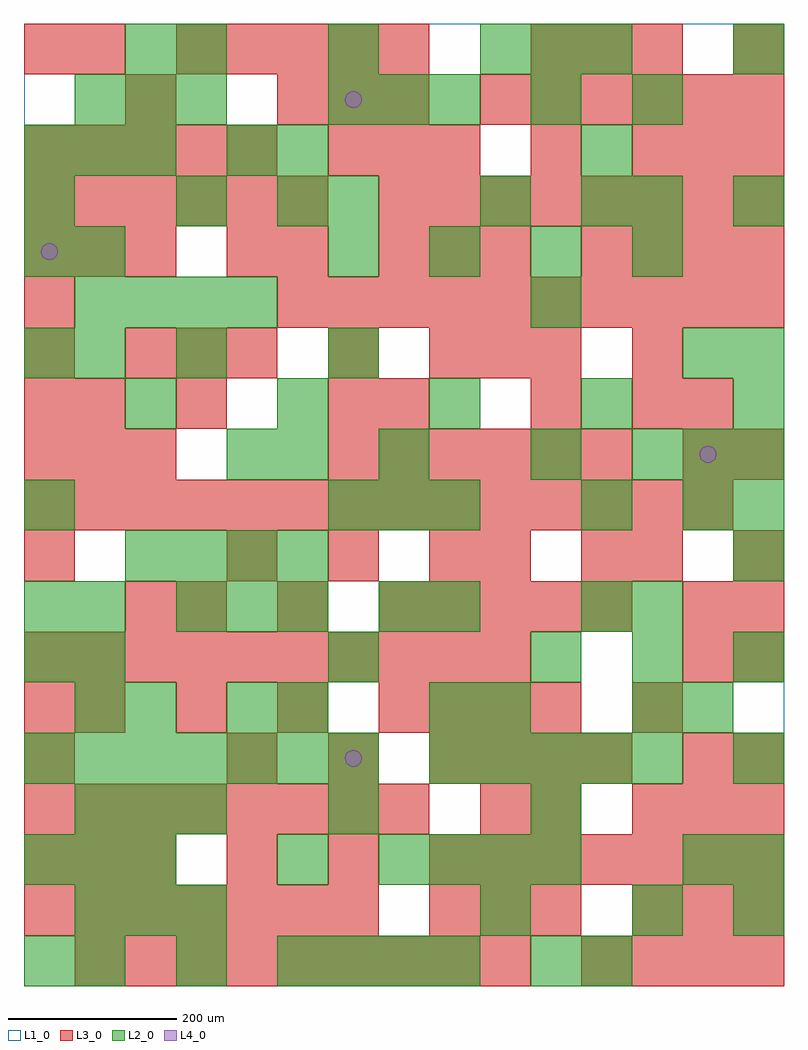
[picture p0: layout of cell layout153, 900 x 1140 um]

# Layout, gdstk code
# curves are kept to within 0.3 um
import gdstk
lib = gdstk.Library(unit=1e-6, precision=1e-09)
def R(c, l, rs):  # rectangles x0, y0, x1, y1
    for r in rs: c.add(gdstk.rectangle(r[:2], r[2:], *l))
def A(c, l, x, y, w, h, nx, ny, dx, dy):  # array of equal rectangles
    R(c, l, [(x+i*dx, y+j*dy, x+i*dx+w, y+j*dy+h) for i in range(nx) for j in range(ny)])
def P(c, l, *ps):  # polygons
    for p in ps: c.add(gdstk.Polygon(p, *l))
L1_0 = (1, 0)
L2_0 = (2, 0)
L3_0 = (3, 0)
L4_0 = (4, 0)

layout153 = lib.new_cell('layout153')
R(layout153, L1_0, [(0,0,900,1140)])
A(layout153, L2_0, 60, 0, 60, 60, 3, 1, 120, 0)
A(layout153, L2_0, 360, 0, 60, 60, 3, 2, 60, 540)
A(layout153, L2_0, 60, 60, 60, 60, 3, 2, 60, 120)
A(layout153, L2_0, 0, 120, 60, 60, 3, 2, 60, 840)
A(layout153, L2_0, 420, 120, 60, 60, 4, 1, 60, 0)
A(layout153, L2_0, 0, 240, 60, 60, 7, 1, 60, 0)
A(layout153, L2_0, 480, 240, 60, 60, 5, 1, 60, 0)
A(layout153, L2_0, 60, 300, 60, 60, 1, 3, 0, 60)
A(layout153, L2_0, 300, 300, 60, 60, 1, 3, 0, 300)
A(layout153, L2_0, 600, 360, 60, 60, 3, 1, 120, 0)
A(layout153, L2_0, 180, 420, 60, 60, 3, 1, 60, 0)
A(layout153, L2_0, 120, 480, 60, 60, 4, 1, 60, 0)
A(layout153, L2_0, 840, 540, 60, 60, 1, 4, 0, 180)
A(layout153, L2_0, 720, 600, 60, 60, 3, 1, 60, 0)
A(layout153, L2_0, 120, 660, 60, 60, 5, 1, 180, 0)
A(layout153, L2_0, 60, 780, 60, 60, 4, 1, 60, 0)
A(layout153, L2_0, 360, 840, 60, 60, 4, 1, 120, 0)
A(layout153, L2_0, 60, 1020, 60, 60, 3, 1, 60, 0)
A(layout153, L2_0, 360, 1020, 60, 60, 3, 1, 60, 0)
A(layout153, L2_0, 180, 1080, 60, 60, 3, 1, 180, 0)
R(layout153, L2_0, [(0,0,60,60), (600,0,660,60), (660,0,720,60), (540,60,600,120), (720,60,780,120), (840,60,900,120), (300,120,360,180), (780,120,840,180), (840,120,900,180), (360,180,420,240), (600,180,660,240), (840,240,900,300), (120,300,180,360), (240,300,300,360), (480,300,540,360), (540,300,600,360), (720,300,780,360), (780,300,840,360), (0,360,60,420), (360,360,420,420), (0,420,60,480), (420,420,480,480), (480,420,540,480), (660,420,720,480), (720,420,780,480), (840,480,900,540), (0,540,60,600), (660,540,720,600), (780,540,840,600), (240,600,300,660), (420,600,480,660), (600,600,660,660), (0,720,60,780), (60,720,120,780), (180,720,240,780), (360,720,420,780), (780,720,840,780), (600,780,660,840), (0,840,60,900), (60,840,120,900), (0,900,60,960), (180,900,240,960), (360,900,420,960), (540,900,600,960), (660,900,720,960), (720,900,780,960), (240,960,300,1020), (300,960,360,1020), (660,960,720,1020), (600,1020,660,1080), (720,1020,780,1080), (120,1080,180,1140), (600,1080,660,1140), (660,1080,720,1140)])
A(layout153, L3_0, 60, 0, 60, 60, 9, 1, 60, 0)
A(layout153, L3_0, 660, 0, 60, 60, 4, 2, 60, 840)
A(layout153, L3_0, 0, 60, 60, 60, 7, 1, 60, 0)
A(layout153, L3_0, 480, 60, 60, 60, 3, 2, 60, 240)
A(layout153, L3_0, 720, 60, 60, 60, 3, 2, 60, 120)
A(layout153, L3_0, 0, 120, 60, 60, 3, 2, 60, 480)
A(layout153, L3_0, 240, 120, 60, 60, 3, 2, 120, 120)
A(layout153, L3_0, 540, 120, 60, 60, 6, 2, 60, 900)
A(layout153, L3_0, 0, 180, 60, 60, 8, 1, 60, 0)
A(layout153, L3_0, 540, 240, 60, 60, 3, 1, 60, 0)
A(layout153, L3_0, 0, 300, 60, 60, 1, 3, 0, 180)
A(layout153, L3_0, 60, 300, 60, 60, 4, 1, 120, 0)
A(layout153, L3_0, 720, 300, 60, 60, 1, 3, 0, 180)
A(layout153, L3_0, 0, 360, 60, 60, 10, 1, 60, 0)
A(layout153, L3_0, 840, 360, 60, 60, 1, 3, 0, 60)
A(layout153, L3_0, 180, 420, 60, 60, 3, 1, 120, 0)
A(layout153, L3_0, 480, 420, 60, 60, 4, 1, 60, 0)
A(layout153, L3_0, 240, 480, 60, 60, 3, 1, 120, 0)
A(layout153, L3_0, 0, 540, 60, 60, 14, 1, 60, 0)
A(layout153, L3_0, 360, 600, 60, 60, 6, 1, 60, 0)
A(layout153, L3_0, 120, 720, 60, 60, 3, 1, 60, 0)
A(layout153, L3_0, 480, 720, 60, 60, 3, 1, 60, 0)
A(layout153, L3_0, 300, 780, 60, 60, 10, 1, 60, 0)
A(layout153, L3_0, 0, 840, 60, 60, 3, 1, 60, 0)
A(layout153, L3_0, 420, 840, 60, 60, 3, 1, 60, 0)
A(layout153, L3_0, 0, 900, 60, 60, 6, 1, 60, 0)
A(layout153, L3_0, 420, 900, 60, 60, 8, 1, 60, 0)
A(layout153, L3_0, 0, 960, 60, 60, 5, 1, 60, 0)
A(layout153, L3_0, 360, 960, 60, 60, 3, 1, 60, 0)
A(layout153, L3_0, 720, 960, 60, 60, 3, 1, 60, 0)
A(layout153, L3_0, 300, 1020, 60, 60, 3, 1, 60, 0)
A(layout153, L3_0, 180, 1080, 60, 60, 5, 1, 60, 0)
A(layout153, L3_0, 600, 1080, 60, 60, 3, 1, 60, 0)
R(layout153, L3_0, [(540,180,600,240), (600,180,660,240), (0,240,60,300), (780,240,840,300), (840,240,900,300), (780,360,840,420), (120,420,180,480), (780,420,840,480), (540,480,600,540), (660,480,720,540), (780,600,840,660), (840,600,900,660), (60,660,120,720), (180,660,240,720), (360,660,420,720), (420,660,480,720), (600,660,660,720), (780,660,840,720), (0,720,60,780), (360,720,420,780), (720,720,780,780), (0,780,60,840), (240,840,300,900), (300,840,360,900), (600,960,660,1020), (120,1020,180,1080), (0,1080,60,1140), (60,1080,120,1140), (840,1080,900,1140)])
P(layout153, L4_0, [(40,870),(39.239,873.827),(37.071,877.071),(33.827,879.239),(30,880),(26.173,879.239),(22.929,877.071),(20.761,873.827),(20,870),(20.761,866.173),(22.929,862.929),(26.173,860.761),(30,860),(33.827,860.761),(37.071,862.929),(39.239,866.173)],
  [(400,270),(399.239,273.827),(397.071,277.071),(393.827,279.239),(390,280),(386.173,279.239),(382.929,277.071),(380.761,273.827),(380,270),(380.761,266.173),(382.929,262.929),(386.173,260.761),(390,260),(393.827,260.761),(397.071,262.929),(399.239,266.173)],
  [(400,1050),(399.239,1053.827),(397.071,1057.071),(393.827,1059.239),(390,1060),(386.173,1059.239),(382.929,1057.071),(380.761,1053.827),(380,1050),(380.761,1046.173),(382.929,1042.929),(386.173,1040.761),(390,1040),(393.827,1040.761),(397.071,1042.929),(399.239,1046.173)],
  [(820,630),(819.239,633.827),(817.071,637.071),(813.827,639.239),(810,640),(806.173,639.239),(802.929,637.071),(800.761,633.827),(800,630),(800.761,626.173),(802.929,622.929),(806.173,620.761),(810,620),(813.827,620.761),(817.071,622.929),(819.239,626.173)])

lib.write_gds('layout153.gds')
